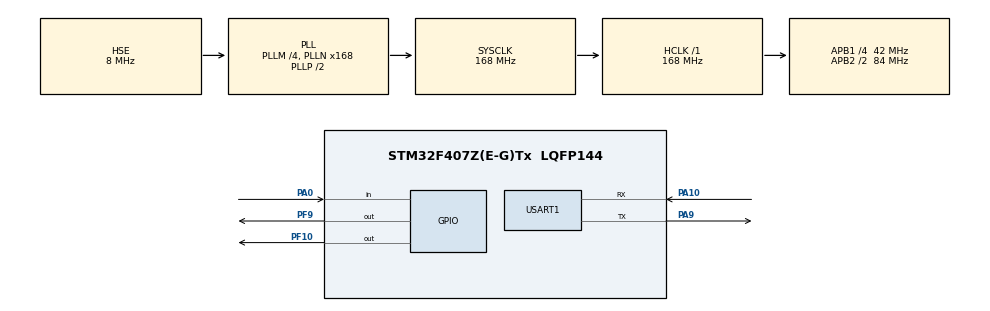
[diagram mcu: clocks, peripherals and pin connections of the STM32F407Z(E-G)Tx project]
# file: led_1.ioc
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Mcu.Family=STM32F4
Mcu.Name=STM32F407Z(E-G)Tx
Mcu.Package=LQFP144
NVIC.PriorityGroup=NVIC_PRIORITYGROUP_4
NVIC.TIM6_DAC_IRQn=true\:0\:0\:false\:false\:true\:true\:true
NVIC.TIM7_IRQn=true\:0\:0\:false\:false\:true\:true\:true
NVIC.USART1_IRQn=true\:0\:0\:false\:false\:true\:true\:true
PA0-WKUP.Signal=GPIO_Input
PA10.Mode=Asynchronous
PA10.Signal=USART1_RX
PA9.Mode=Asynchronous
PA9.Signal=USART1_TX
PF10.PinState=GPIO_PIN_SET
PF10.Signal=GPIO_Output
PF9.PinState=GPIO_PIN_RESET
PF9.Signal=GPIO_Output
PH0-OSC_IN.Mode=HSE-External-Oscillator
PH0-OSC_IN.Signal=RCC_OSC_IN
PH1-OSC_OUT.Mode=HSE-External-Oscillator
PH1-OSC_OUT.Signal=RCC_OSC_OUT
ProjectManager.HeapSize=0x200
ProjectManager.StackSize=0x400
ProjectManager.TargetToolchain=MDK-ARM V5.27
RCC.48MHZClocksFreq_Value=84000000
RCC.AHBFreq_Value=168000000
RCC.APB1CLKDivider=RCC_HCLK_DIV4
RCC.APB1Freq_Value=42000000
RCC.APB1TimFreq_Value=84000000
RCC.APB2CLKDivider=RCC_HCLK_DIV2
RCC.APB2Freq_Value=84000000
RCC.APB2TimFreq_Value=168000000
RCC.CortexFreq_Value=168000000
RCC.HCLKFreq_Value=168000000
RCC.HSE_VALUE=8000000
RCC.HSI_VALUE=16000000
RCC.LSE_VALUE=32768
RCC.PLLM=4
RCC.PLLN=168
RCC.PLLSourceVirtual=RCC_PLLSOURCE_HSE
RCC.SYSCLKFreq_VALUE=168000000
RCC.SYSCLKSource=RCC_SYSCLKSOURCE_PLLCLK
RCC.VCOOutputFreq_Value=336000000
TIM6.Period=1000-1
TIM6.Prescaler=840-1
TIM7.Period=1000-1
TIM7.Prescaler=8400-1
USART1.VirtualMode=VM_ASYNC
VP_TIM6_VS_ClockSourceINT.Mode=Enable_Timer
VP_TIM7_VS_ClockSourceINT.Mode=Enable_Timer
board=custom

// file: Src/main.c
/* USER CODE BEGIN Header */
/**
  ******************************************************************************
  * @file           : main.c
  * @brief          : Main program body
  ******************************************************************************
  * @attention
  *
  * <h2><center>&copy; Copyright (c) 2020 STMicroelectronics.
  * All rights reserved.</center></h2>
  *
  * This software component is licensed by ST under BSD 3-Clause license,
  * the "License"; You may not use this file except in compliance with the
  * License. You may obtain a copy of the License at:
  *                        opensource.org/licenses/BSD-3-Clause
  *
  ******************************************************************************
  */
/* USER CODE END Header */

#include "main.h"
#include "tim.h"
#include "usart.h"
#include "gpio.h"

/* USER CODE BEGIN Includes */
#include <string.h>
#include "stdio.h"
/* USER CODE END Includes */

/* USER CODE BEGIN PV */

static int state=0;
unsigned int TimeBase=0;
unsigned int TimeBases=0;
unsigned int Timeled=0;
unsigned int Timetik=0;
/* USER CODE END PV */

void SystemClock_Config(void);

/* USER CODE BEGIN 0 */
void HAL_GPIO_EXTI_Callback(uint16_t GPIO_Pin)
{
   //if(GPIO_Pin==GPIO_PIN_0){
		//HAL_GPIO_TogglePin(GPIOF,GPIO_PIN_9);}
}
/* USER CODE END 0 */

int main(void)
{
  /* USER CODE BEGIN 1 */
unsigned int t=0;

  /* USER CODE END 1 */

  /* MCU Configuration--------------------------------------------------------*/

  /* Reset of all peripherals, Initializes the Flash interface and the Systick. */
  HAL_Init();

  /* Configure the system clock */
  SystemClock_Config();

  /* Initialize all configured peripherals */
  MX_GPIO_Init();
  MX_USART1_UART_Init();
  MX_TIM7_Init();
  MX_TIM6_Init();
  /* USER CODE BEGIN 2 */
	HAL_TIM_Base_Start_IT(&htim6);
  /* USER CODE END 2 */

  /* Infinite loop */
  /* USER CODE BEGIN WHILE */
/*while(1)
{if(HAL_GPIO_ReadPin(GPIOA, GPIO_PIN_0)==1)
  HAL_GPIO_WritePin(GPIOF, GPIO_PIN_9, GPIO_PIN_SET);
	else
		HAL_GPIO_WritePin(GPIOF, GPIO_PIN_9, GPIO_PIN_RESET);
}*/

		while(1)
		{
			if(TimeBase)
			{
				TimeBase=0;
				Timetik++;
				switch(state)
				{
					case 0:if(HAL_GPIO_ReadPin(GPIOA, GPIO_PIN_0)==1)
					{
						state=1;
					}break;
					case 1:if(HAL_GPIO_ReadPin(GPIOA, GPIO_PIN_0)==1)
					{
						state=2;
						HAL_GPIO_WritePin(GPIOF, GPIO_PIN_9, GPIO_PIN_RESET);
						HAL_GPIO_WritePin(GPIOF, GPIO_PIN_10, GPIO_PIN_RESET);
						t=Timetik;
					}break;
					case 2:if(HAL_GPIO_ReadPin(GPIOA, GPIO_PIN_0)==0)
					{
						if(Timetik>=(t+10))
						state=0;
						HAL_GPIO_WritePin(GPIOF, GPIO_PIN_9, GPIO_PIN_SET);
						HAL_GPIO_WritePin(GPIOF, GPIO_PIN_10, GPIO_PIN_SET);
					}break;
				}
			}
			/*if(TimeBases)
			{
				TimeBases=0;
				if(HAL_GPIO_ReadPin(GPIOA, GPIO_PIN_0)==0)
					HAL_GPIO_WritePin(GPIOF, GPIO_PIN_9, GPIO_PIN_SET);
				HAL_GPIO_WritePin(GPIOF, GPIO_PIN_10, GPIO_PIN_SET);
			}*/
		}

    /* USER CODE END WHILE */

}

void SystemClock_Config(void)
{
  RCC_OscInitTypeDef RCC_OscInitStruct = {0};
  RCC_ClkInitTypeDef RCC_ClkInitStruct = {0};

  /** Configure the main internal regulator output voltage
  */
  __HAL_RCC_PWR_CLK_ENABLE();
  __HAL_PWR_VOLTAGESCALING_CONFIG(PWR_REGULATOR_VOLTAGE_SCALE1);
  /** Initializes the CPU, AHB and APB busses clocks
  */
  RCC_OscInitStruct.OscillatorType = RCC_OSCILLATORTYPE_HSE;
  RCC_OscInitStruct.HSEState = RCC_HSE_ON;
  RCC_OscInitStruct.PLL.PLLState = RCC_PLL_ON;
  RCC_OscInitStruct.PLL.PLLSource = RCC_PLLSOURCE_HSE;
  RCC_OscInitStruct.PLL.PLLM = 4;
  RCC_OscInitStruct.PLL.PLLN = 168;
  RCC_OscInitStruct.PLL.PLLP = RCC_PLLP_DIV2;
  RCC_OscInitStruct.PLL.PLLQ = 4;
  if (HAL_RCC_OscConfig(&RCC_OscInitStruct) != HAL_OK)
  {
    Error_Handler();
  }
  /** Initializes the CPU, AHB and APB busses clocks
  */
  RCC_ClkInitStruct.ClockType = RCC_CLOCKTYPE_HCLK|RCC_CLOCKTYPE_SYSCLK
                              |RCC_CLOCKTYPE_PCLK1|RCC_CLOCKTYPE_PCLK2;
  RCC_ClkInitStruct.SYSCLKSource = RCC_SYSCLKSOURCE_PLLCLK;
  RCC_ClkInitStruct.AHBCLKDivider = RCC_SYSCLK_DIV1;
  RCC_ClkInitStruct.APB1CLKDivider = RCC_HCLK_DIV4;
  RCC_ClkInitStruct.APB2CLKDivider = RCC_HCLK_DIV2;

  if (HAL_RCC_ClockConfig(&RCC_ClkInitStruct, FLASH_LATENCY_5) != HAL_OK)
  {
    Error_Handler();
  }
}

/* USER CODE BEGIN 4 */

void HAL_UART_RxCpltCallback(UART_HandleTypeDef *huart)
{
  /* Prevent unused argument(s) compilation warning */
  UNUSED(huart);

}

/*void HAL_UART_RxCpltCallback(UART_HandleTypeDef *huart)
{
  if(huart->Instance==USART1)
  {
    __HAL_TIM_SET_COUNTER(&htim7,0);
    if(uart1_rx_cnt==0)//如果是第一个字符，则开启定时器
    {
    __HAL_TIM_CLEAR_FLAG(&htim7,TIM_FLAG_UPDATE);
      HAL_TIM_Base_Start_IT(&htim7);
    }
    UART1_Rx_Buf[uart1_rx_cnt] = aRxBuffer[0];
    uart1_rx_cnt++;
    HAL_UART_Receive_IT(&huart1,(uint8_t *)&aRxBuffer,1);
  }
}*/
/* USER CODE END 4 */

void Error_Handler(void)
{
}

/************************ (C) COPYRIGHT STMicroelectronics *****END OF FILE****/
